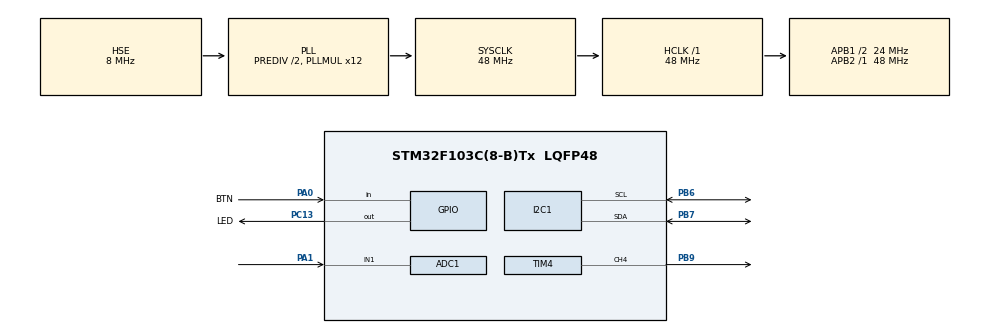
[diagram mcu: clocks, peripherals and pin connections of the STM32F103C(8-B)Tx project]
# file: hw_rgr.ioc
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ADC1.AWD1HighThreshold=2588
ADC1.AWD1ITMode=ENABLE
ADC1.Channel-3\#ChannelRegularConversion=ADC_CHANNEL_1
ADC1.ContinuousConvMode=ENABLE
ADC1.EnableAnalogWatchDog=true
ADC1.NbrOfConversionFlag=1
ADC1.Rank-3\#ChannelRegularConversion=1
ADC1.SamplingTime-3\#ChannelRegularConversion=ADC_SAMPLETIME_7CYCLES_5
ADC1.WatchdogChannel=ADC_CHANNEL_1
ADC1.master=1
I2C1.I2C_Mode=I2C_Fast
Mcu.Family=STM32F1
Mcu.Name=STM32F103C(8-B)Tx
Mcu.Package=LQFP48
NVIC.ADC1_2_IRQn=true\:0\:0\:false\:false\:true\:true\:true\:true
NVIC.PriorityGroup=NVIC_PRIORITYGROUP_4
NVIC.TIM4_IRQn=true\:0\:0\:false\:false\:true\:true\:true\:true
PA0-WKUP.GPIO_Label=BTN
PA0-WKUP.GPIO_PuPd=GPIO_PULLUP
PA0-WKUP.Signal=GPIO_Input
PA1.Signal=ADCx_IN1
PA13.Mode=Serial_Wire
PA13.Signal=SYS_JTMS-SWDIO
PA14.Mode=Serial_Wire
PA14.Signal=SYS_JTCK-SWCLK
PB6.Mode=I2C
PB6.Signal=I2C1_SCL
PB7.Mode=I2C
PB7.Signal=I2C1_SDA
PB9.Signal=S_TIM4_CH4
PC13-TAMPER-RTC.GPIO_Label=LED
PC13-TAMPER-RTC.PinState=GPIO_PIN_SET
PC13-TAMPER-RTC.Signal=GPIO_Output
PD0-OSC_IN.Mode=HSE-External-Oscillator
PD0-OSC_IN.Signal=RCC_OSC_IN
PD1-OSC_OUT.Mode=HSE-External-Oscillator
PD1-OSC_OUT.Signal=RCC_OSC_OUT
ProjectManager.HeapSize=0x200
ProjectManager.StackSize=0x400
ProjectManager.TargetToolchain=CMake
RCC.ADCPresc=RCC_ADCPCLK2_DIV4
RCC.AHBFreq_Value=48000000
RCC.APB1CLKDivider=RCC_HCLK_DIV2
RCC.APB1Freq_Value=24000000
RCC.APB1TimFreq_Value=48000000
RCC.APB2Freq_Value=48000000
RCC.APB2TimFreq_Value=48000000
RCC.HCLKFreq_Value=48000000
RCC.HSEDivPLL=RCC_HSE_PREDIV_DIV2
RCC.PLLMUL=RCC_PLL_MUL12
RCC.PLLSourceVirtual=RCC_PLLSOURCE_HSE
RCC.SYSCLKFreq_VALUE=48000000
RCC.SYSCLKSource=RCC_SYSCLKSOURCE_PLLCLK
RCC.USBFreq_Value=48000000
SH.ADCx_IN1.0=ADC1_IN1,IN1
SH.S_TIM4_CH4.0=TIM4_CH4,PWM Generation4 CH4
TIM4.AutoReloadPreload=TIM_AUTORELOAD_PRELOAD_ENABLE
TIM4.Channel-PWM\ Generation4\ CH4=TIM_CHANNEL_4
TIM4.Prescaler=80
TIM4.Pulse-PWM\ Generation4\ CH4=32767
VP_TIM4_VS_OPM.Mode=OPM_bit
board=custom

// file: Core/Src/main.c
/* USER CODE BEGIN Header */
/**
  ******************************************************************************
  * @file           : main.c
  * @brief          : Main program body
  ******************************************************************************
  * @attention
  *
  * Copyright (c) 2025 STMicroelectronics.
  * All rights reserved.
  *
  * This software is licensed under terms that can be found in the LICENSE file
  * in the root directory of this software component.
  * If no LICENSE file comes with this software, it is provided AS-IS.
  *
  ******************************************************************************
  */
/* USER CODE END Header */
#include "main.h"

/* USER CODE BEGIN Includes */
#include <string.h>
#include <stdio.h>
#include "ssd1306.h"
#include "fonts.h"
/* USER CODE END Includes */

ADC_HandleTypeDef hadc1;

I2C_HandleTypeDef hi2c1;

TIM_HandleTypeDef htim4;

/* USER CODE BEGIN PV */
uint8_t str_buf[90] = {0};
volatile uint16_t CNT_CHARGED = 0;
volatile uint32_t TIM_UPDATES = false;
volatile bool PERIOD_ELAPSED = false;
/* USER CODE END PV */

void SystemClock_Config(void);
static void MX_GPIO_Init(void);
static void MX_I2C1_Init(void);
static void MX_ADC1_Init(void);
static void MX_TIM4_Init(void);
/* USER CODE BEGIN PFP */
void measure_capacitance(void);
void write_buffer_to_oled(const uint8_t* data);
void print_capacitance_measurement_logs(const uint16_t CNT_CHARGED, const float charge_time_us,
                                        const float capacitance);
/* USER CODE END PFP */

int main(void)
{

    /* MCU Configuration--------------------------------------------------------*/

    /* Reset of all peripherals, Initializes the Flash interface and the Systick. */
    HAL_Init();

    /* Configure the system clock */
    SystemClock_Config();

    /* Initialize all configured peripherals */
    MX_GPIO_Init();
    MX_I2C1_Init();
    MX_ADC1_Init();
    MX_TIM4_Init();
    /* USER CODE BEGIN 2 */
    HAL_Delay(200);
    ssd1306_Init();
    ssd1306_Clear();
    ssd1306_SetColor(White);
    ssd1306_FlipScreenVertically();
    ssd1306_UpdateScreen();

    // HAL_TIM_Base_Start(&htim4);
    // HAL_TIM_IC_Start(&htim4, TIM_CHANNEL_4);

    ssd1306_SetCursor(0, 0);
    ssd1306_WriteString("Starting...", Font_11x18);
    ssd1306_UpdateScreen();
    HAL_Delay(200);
    /* USER CODE END 2 */

    /* Infinite loop */
    /* USER CODE BEGIN WHILE */

    measure_capacitance();
    while (1)
    {
        measure_capacitance();
        // HAL_Delay(1000);
        /* USER CODE END WHILE */

    }
}

void SystemClock_Config(void)
{
    RCC_OscInitTypeDef RCC_OscInitStruct = {0};
    RCC_ClkInitTypeDef RCC_ClkInitStruct = {0};
    RCC_PeriphCLKInitTypeDef PeriphClkInit = {0};

    /** Initializes the RCC Oscillators according to the specified parameters
    * in the RCC_OscInitTypeDef structure.
    */
    RCC_OscInitStruct.OscillatorType = RCC_OSCILLATORTYPE_HSE;
    RCC_OscInitStruct.HSEState = RCC_HSE_ON;
    RCC_OscInitStruct.HSEPredivValue = RCC_HSE_PREDIV_DIV2;
    RCC_OscInitStruct.HSIState = RCC_HSI_ON;
    RCC_OscInitStruct.PLL.PLLState = RCC_PLL_ON;
    RCC_OscInitStruct.PLL.PLLSource = RCC_PLLSOURCE_HSE;
    RCC_OscInitStruct.PLL.PLLMUL = RCC_PLL_MUL12;
    if (HAL_RCC_OscConfig(&RCC_OscInitStruct) != HAL_OK)
    {
        Error_Handler();
    }

    /** Initializes the CPU, AHB and APB buses clocks
    */
    RCC_ClkInitStruct.ClockType = RCC_CLOCKTYPE_HCLK | RCC_CLOCKTYPE_SYSCLK
        | RCC_CLOCKTYPE_PCLK1 | RCC_CLOCKTYPE_PCLK2;
    RCC_ClkInitStruct.SYSCLKSource = RCC_SYSCLKSOURCE_PLLCLK;
    RCC_ClkInitStruct.AHBCLKDivider = RCC_SYSCLK_DIV1;
    RCC_ClkInitStruct.APB1CLKDivider = RCC_HCLK_DIV2;
    RCC_ClkInitStruct.APB2CLKDivider = RCC_HCLK_DIV1;

    if (HAL_RCC_ClockConfig(&RCC_ClkInitStruct, FLASH_LATENCY_1) != HAL_OK)
    {
        Error_Handler();
    }
    PeriphClkInit.PeriphClockSelection = RCC_PERIPHCLK_ADC;
    PeriphClkInit.AdcClockSelection = RCC_ADCPCLK2_DIV4;
    if (HAL_RCCEx_PeriphCLKConfig(&PeriphClkInit) != HAL_OK)
    {
        Error_Handler();
    }
}

static void MX_ADC1_Init(void)
{

    ADC_AnalogWDGConfTypeDef AnalogWDGConfig = {0};
    ADC_ChannelConfTypeDef sConfig = {0};

    /** Common config
    */
    hadc1.Instance = ADC1;
    hadc1.Init.ScanConvMode = ADC_SCAN_DISABLE;
    hadc1.Init.ContinuousConvMode = ENABLE;
    hadc1.Init.DiscontinuousConvMode = DISABLE;
    hadc1.Init.ExternalTrigConv = ADC_SOFTWARE_START;
    hadc1.Init.DataAlign = ADC_DATAALIGN_RIGHT;
    hadc1.Init.NbrOfConversion = 1;
    if (HAL_ADC_Init(&hadc1) != HAL_OK)
    {
        Error_Handler();
    }

    /** Configure Analog WatchDog 1
    */
    AnalogWDGConfig.WatchdogMode = ADC_ANALOGWATCHDOG_SINGLE_REG;
    AnalogWDGConfig.HighThreshold = 2588;
    AnalogWDGConfig.LowThreshold = 0;
    AnalogWDGConfig.Channel = ADC_CHANNEL_1;
    AnalogWDGConfig.ITMode = ENABLE;
    if (HAL_ADC_AnalogWDGConfig(&hadc1, &AnalogWDGConfig) != HAL_OK)
    {
        Error_Handler();
    }

    /** Configure Regular Channel
    */
    sConfig.Channel = ADC_CHANNEL_1;
    sConfig.Rank = ADC_REGULAR_RANK_1;
    sConfig.SamplingTime = ADC_SAMPLETIME_7CYCLES_5;
    if (HAL_ADC_ConfigChannel(&hadc1, &sConfig) != HAL_OK)
    {
        Error_Handler();
    }
}

static void MX_I2C1_Init(void)
{

    hi2c1.Instance = I2C1;
    hi2c1.Init.ClockSpeed = 400000;
    hi2c1.Init.DutyCycle = I2C_DUTYCYCLE_2;
    hi2c1.Init.OwnAddress1 = 0;
    hi2c1.Init.AddressingMode = I2C_ADDRESSINGMODE_7BIT;
    hi2c1.Init.DualAddressMode = I2C_DUALADDRESS_DISABLE;
    hi2c1.Init.OwnAddress2 = 0;
    hi2c1.Init.GeneralCallMode = I2C_GENERALCALL_DISABLE;
    hi2c1.Init.NoStretchMode = I2C_NOSTRETCH_DISABLE;
    if (HAL_I2C_Init(&hi2c1) != HAL_OK)
    {
        Error_Handler();
    }
}

static void MX_TIM4_Init(void)
{

    TIM_MasterConfigTypeDef sMasterConfig = {0};
    TIM_OC_InitTypeDef sConfigOC = {0};

    htim4.Instance = TIM4;
    htim4.Init.Prescaler = 80;
    htim4.Init.CounterMode = TIM_COUNTERMODE_UP;
    htim4.Init.Period = 65535;
    htim4.Init.ClockDivision = TIM_CLOCKDIVISION_DIV1;
    htim4.Init.AutoReloadPreload = TIM_AUTORELOAD_PRELOAD_ENABLE;
    if (HAL_TIM_PWM_Init(&htim4) != HAL_OK)
    {
        Error_Handler();
    }
    if (HAL_TIM_OnePulse_Init(&htim4, TIM_OPMODE_SINGLE) != HAL_OK)
    {
        Error_Handler();
    }
    sMasterConfig.MasterOutputTrigger = TIM_TRGO_RESET;
    sMasterConfig.MasterSlaveMode = TIM_MASTERSLAVEMODE_DISABLE;
    if (HAL_TIMEx_MasterConfigSynchronization(&htim4, &sMasterConfig) != HAL_OK)
    {
        Error_Handler();
    }
    sConfigOC.OCMode = TIM_OCMODE_PWM1;
    sConfigOC.Pulse = 32767;
    sConfigOC.OCPolarity = TIM_OCPOLARITY_HIGH;
    sConfigOC.OCFastMode = TIM_OCFAST_DISABLE;
    if (HAL_TIM_PWM_ConfigChannel(&htim4, &sConfigOC, TIM_CHANNEL_4) != HAL_OK)
    {
        Error_Handler();
    }
    HAL_TIM_MspPostInit(&htim4);
}

static void MX_GPIO_Init(void)
{
    GPIO_InitTypeDef GPIO_InitStruct = {0};

    /* GPIO Ports Clock Enable */
    __HAL_RCC_GPIOC_CLK_ENABLE();
    __HAL_RCC_GPIOD_CLK_ENABLE();
    __HAL_RCC_GPIOA_CLK_ENABLE();
    __HAL_RCC_GPIOB_CLK_ENABLE();

    /*Configure GPIO pin Output Level */
    HAL_GPIO_WritePin(LED_GPIO_Port, LED_Pin, GPIO_PIN_SET);

    /*Configure GPIO pin : LED_Pin */
    GPIO_InitStruct.Pin = LED_Pin;
    GPIO_InitStruct.Mode = GPIO_MODE_OUTPUT_PP;
    GPIO_InitStruct.Pull = GPIO_NOPULL;
    GPIO_InitStruct.Speed = GPIO_SPEED_FREQ_LOW;
    HAL_GPIO_Init(LED_GPIO_Port, &GPIO_InitStruct);

    /*Configure GPIO pin : BTN_Pin */
    GPIO_InitStruct.Pin = BTN_Pin;
    GPIO_InitStruct.Mode = GPIO_MODE_INPUT;
    GPIO_InitStruct.Pull = GPIO_PULLUP;
    HAL_GPIO_Init(BTN_GPIO_Port, &GPIO_InitStruct);

}

/* USER CODE BEGIN 4 */
void HAL_ADC_LevelOutOfWindowCallback(ADC_HandleTypeDef* hadc)
{
    if (hadc->Instance == ADC1)
    {
        HAL_ADC_Stop_IT(&hadc1);
        CNT_CHARGED = htim4.Instance->CNT;
    }
}

void HAL_TIM_PeriodElapsedCallback(TIM_HandleTypeDef* htim)
{
    if (htim->Instance == TIM4)
    {
        HAL_TIM_OnePulse_Stop_IT(&htim4, TIM_CHANNEL_4);
        PERIOD_ELAPSED = true;
    }
}

void write_buffer_to_oled(const uint8_t* data)
{
    ssd1306_Clear();
    for (size_t num = 0; num < strlen((const char*)data); num++)
    {
        constexpr uint8_t MAX_LINES = 5;
        constexpr uint8_t MAX_CHARS_IN_LINE = 18;

        const uint8_t character = data[num];
        const uint8_t line = num / MAX_CHARS_IN_LINE % MAX_LINES;
        const uint8_t pos = num % MAX_CHARS_IN_LINE;
        ssd1306_SetCursor(pos * 7, line * 10);
        ssd1306_WriteChar(character, Font_7x10);
    }
    ssd1306_UpdateScreen();
}

void print_capacitance_measurement_logs(const uint16_t CNT_CHARGED, const float charge_time_us,
                                        const float capacitance)
{
    constexpr uint8_t str_buf[90] = {0};

    ssd1306_Clear();

    snprintf((char*)str_buf, sizeof(str_buf), "CNTR = %d/%d", CNT_CHARGED, 32767);
    ssd1306_SetCursor(0, 0);
    ssd1306_WriteString((char*)str_buf, Font_7x10);

    snprintf((char*)str_buf, sizeof(str_buf), "Tcharge = %u us", (int)charge_time_us);
    ssd1306_SetCursor(0, 15);
    ssd1306_WriteString((char*)str_buf, Font_7x10);

    snprintf((char*)str_buf, sizeof(str_buf), "C = %u.%03u n F",
             (int)capacitance, (int)(capacitance * 1000) % 1000);
    ssd1306_SetCursor(0, 30);
    ssd1306_WriteString((char*)str_buf, Font_7x10);

    ssd1306_UpdateScreen();
}

void print_capacity_too_small()
{
    ssd1306_Clear();
    ssd1306_SetCursor(0, 0);
    snprintf((char*)str_buf, sizeof(str_buf), "Capacity too small");
    ssd1306_WriteString((char*)str_buf, Font_7x10);
}

void print_capacity_too_big()
{
    ssd1306_Clear();
    ssd1306_SetCursor(0, 0);
    snprintf((char*)str_buf, sizeof(str_buf), "Capacity too big");
    ssd1306_WriteString((char*)str_buf, Font_7x10);
}

void measure_capacitance(void)
{
    CNT_CHARGED = 0;
    HAL_ADC_Start_IT(&hadc1);

    __HAL_TIM_SET_COUNTER(&htim4, 0);
    PERIOD_ELAPSED = false;
    HAL_TIM_OnePulse_Start_IT(&htim4, TIM_CHANNEL_4);

    // CNT_CHARGED sets in HAL_ADC_LevelOutOfWindowCallback
    while (CNT_CHARGED == 0 || !PERIOD_ELAPSED)
    {
        __NOP();
    }
    HAL_ADC_Stop(&hadc1);

    if (CNT_CHARGED == 0)
    {
        print_capacity_too_small();
    }

    if (CNT_CHARGED >= 32767)
    {
        print_capacity_too_big();
    }

    float charge_time_us = 1.0 / 0.6 * (float)CNT_CHARGED; // time = x * 10^(-6)
    float capacitance = charge_time_us / (2 * 10000); // R=10M Ohm - nF, R=100 Ohm - uF
    print_capacitance_measurement_logs(CNT_CHARGED, charge_time_us, capacitance);

    // // Wait for the OnePulse period to complete
    // while (__HAL_TIM_GET_FLAG(&htim4, TIM_FLAG_UPDATE) == RESET)
    // {
    //     __NOP();
    // }

    while (!PERIOD_ELAPSED)
    {
        __NOP();
    }
    HAL_TIM_Base_Stop(&htim4);
    HAL_TIM_IC_Stop(&htim4, TIM_CHANNEL_4);
}

/* USER CODE END 4 */

void Error_Handler(void)
{
    /* USER CODE BEGIN Error_Handler_Debug */
    /* User can add his own implementation to report the HAL error return state */
    __disable_irq();
    while (1)
    {
        HAL_GPIO_TogglePin(LED_GPIO_Port, LED_Pin);
        auto t = 75000;
        while (t--)
        {
            __NOP();
        }
    }
    /* USER CODE END Error_Handler_Debug */
}
